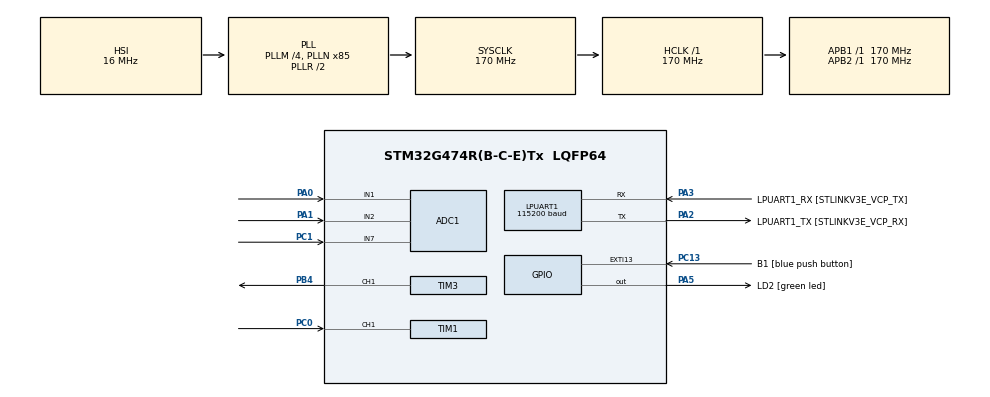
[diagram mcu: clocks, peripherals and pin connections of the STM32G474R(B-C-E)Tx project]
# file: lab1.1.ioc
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ADC1.Channel-0\#ChannelRegularConversion=ADC_CHANNEL_1
ADC1.Channel-1\#ChannelRegularConversion=ADC_CHANNEL_2
ADC1.Channel-2\#ChannelRegularConversion=ADC_CHANNEL_7
ADC1.ContinuousConvMode=ENABLE
ADC1.DMAContinuousRequests=ENABLE
ADC1.ExternalTrigConv=ADC_EXTERNALTRIG_T4_TRGO
ADC1.NbrOfConversion=3
ADC1.NbrOfConversionFlag=1
ADC1.OffsetNumber-0\#ChannelRegularConversion=ADC_OFFSET_NONE
ADC1.OffsetNumber-1\#ChannelRegularConversion=ADC_OFFSET_NONE
ADC1.OffsetNumber-2\#ChannelRegularConversion=ADC_OFFSET_NONE
ADC1.Rank-0\#ChannelRegularConversion=1
ADC1.Rank-1\#ChannelRegularConversion=2
ADC1.Rank-2\#ChannelRegularConversion=3
ADC1.SamplingTime-0\#ChannelRegularConversion=ADC_SAMPLETIME_640CYCLES_5
ADC1.SamplingTime-1\#ChannelRegularConversion=ADC_SAMPLETIME_640CYCLES_5
ADC1.SamplingTime-2\#ChannelRegularConversion=ADC_SAMPLETIME_640CYCLES_5
ADC1.master=1
Dma.ADC1.0.Direction=DMA_PERIPH_TO_MEMORY
Dma.ADC1.0.EventEnable=DISABLE
Dma.ADC1.0.Instance=DMA1_Channel1
Dma.ADC1.0.MemDataAlignment=DMA_MDATAALIGN_HALFWORD
Dma.ADC1.0.MemInc=DMA_MINC_ENABLE
Dma.ADC1.0.Mode=DMA_CIRCULAR
Dma.ADC1.0.PeriphDataAlignment=DMA_PDATAALIGN_HALFWORD
Dma.ADC1.0.PeriphInc=DMA_PINC_DISABLE
Dma.ADC1.0.Polarity=HAL_DMAMUX_REQ_GEN_RISING
Dma.ADC1.0.Priority=DMA_PRIORITY_LOW
Dma.ADC1.0.RequestNumber=1
Dma.ADC1.0.SignalID=NONE
Dma.ADC1.0.SyncEnable=DISABLE
Dma.ADC1.0.SyncPolarity=HAL_DMAMUX_SYNC_NO_EVENT
Dma.ADC1.0.SyncRequestNumber=1
Dma.ADC1.0.SyncSignalID=NONE
Dma.Request0=ADC1
LPUART1.BaudRate=115200
LPUART1.WordLength=UART_WORDLENGTH_8B
Mcu.Family=STM32G4
Mcu.Name=STM32G474R(B-C-E)Tx
Mcu.Package=LQFP64
NVIC.ADC1_2_IRQn=true\:0\:0\:false\:false\:true\:true\:true\:true
NVIC.DMA1_Channel1_IRQn=true\:0\:0\:false\:false\:true\:false\:true\:true
NVIC.EXTI15_10_IRQn=true\:0\:0\:false\:false\:true\:true\:true\:true
NVIC.PriorityGroup=NVIC_PRIORITYGROUP_4
NVIC.TIM2_IRQn=true\:0\:0\:false\:false\:true\:true\:true\:true
PA0.Mode=IN1-Single-Ended
PA0.Signal=ADC1_IN1
PA1.Mode=IN2-Single-Ended
PA1.Signal=ADC1_IN2
PA13.GPIO_Label=T_SWDIO
PA13.Mode=Serial_Wire
PA13.Signal=SYS_JTMS-SWDIO
PA14.GPIO_Label=T_SWCLK
PA14.Mode=Serial_Wire
PA14.Signal=SYS_JTCK-SWCLK
PA2.GPIO_Label=LPUART1_TX [STLINKV3E_VCP_RX]
PA2.Mode=Asynchronous
PA2.Signal=LPUART1_TX
PA3.GPIO_Label=LPUART1_RX [STLINKV3E_VCP_TX]
PA3.Mode=Asynchronous
PA3.Signal=LPUART1_RX
PA5.GPIO_Label=LD2 [green led]
PA5.Signal=GPIO_Output
PB3.GPIO_Label=T_SWO
PB3.Signal=SYS_JTDO-SWO
PB4.Signal=S_TIM3_CH1
PC0.Signal=S_TIM1_CH1
PC1.Mode=IN7-Single-Ended
PC1.Signal=ADC1_IN7
PC13.GPIO_Label=B1 [blue push button]
PC13.Signal=GPXTI13
PC14-OSC32_IN.Mode=LSE-External-Oscillator
PC14-OSC32_IN.Signal=RCC_OSC32_IN
PC15-OSC32_OUT.Mode=LSE-External-Oscillator
PC15-OSC32_OUT.Signal=RCC_OSC32_OUT
PF0-OSC_IN.Mode=HSE-External-Oscillator
PF0-OSC_IN.Signal=RCC_OSC_IN
PF1-OSC_OUT.Mode=HSE-External-Oscillator
PF1-OSC_OUT.Signal=RCC_OSC_OUT
ProjectManager.HeapSize=0x200
ProjectManager.StackSize=0x400
ProjectManager.TargetToolchain=STM32CubeIDE
RCC.ADC12Freq_Value=170000000
RCC.ADC345Freq_Value=170000000
RCC.AHBFreq_Value=170000000
RCC.APB1Freq_Value=170000000
RCC.APB1TimFreq_Value=170000000
RCC.APB2Freq_Value=170000000
RCC.APB2TimFreq_Value=170000000
RCC.CortexFreq_Value=170000000
RCC.EXTERNAL_CLOCK_VALUE=12288000
RCC.HCLKFreq_Value=170000000
RCC.HSE_VALUE=24000000
RCC.HSI48_VALUE=48000000
RCC.HSI_VALUE=16000000
RCC.PLLM=RCC_PLLM_DIV4
RCC.PLLN=85
RCC.RTCClockSelection=RCC_RTCCLKSOURCE_LSE
RCC.SYSCLKFreq_VALUE=170000000
RCC.SYSCLKSource=RCC_SYSCLKSOURCE_PLLCLK
RCC.USBFreq_Value=170000000
RCC.VCOOutputFreq_Value=340000000
SH.S_TIM1_CH1.0=TIM1_CH1,PWM_Input_1
SH.S_TIM3_CH1.0=TIM3_CH1,PWM Generation1 CH1
TIM1.PeriodNoDither=19999
TIM1.Prescaler=169
TIM2.PeriodNoDither=5000000
TIM2.Prescaler=169
TIM3.Channel-PWM\ Generation1\ CH1=TIM_CHANNEL_1
TIM3.PeriodNoDither=19999
TIM3.Prescaler=169
TIM3.PulseNoDither_1=2000
TIM4.PeriodNoDither=333
TIM4.Prescaler=169
TIM4.TIM_MasterOutputTrigger=TIM_TRGO_UPDATE
TIM4.TIM_MasterSlaveMode=TIM_MASTERSLAVEMODE_DISABLE
VP_SYS_VS_DBSignals.Mode=DisableDeadBatterySignals
VP_TIM2_VS_ClockSourceINT.Mode=Internal
VP_TIM3_VS_ClockSourceINT.Mode=Internal
VP_TIM4_VS_ClockSourceINT.Mode=Internal
board=NUCLEO-G474RE

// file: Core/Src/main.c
/* USER CODE BEGIN Header */
/**
  ******************************************************************************
  * @file           : main.c
  * @brief          : Main program body
  ******************************************************************************
  * @attention
  *
  * Copyright (c) 2024 STMicroelectronics.
  * All rights reserved.
  *
  * This software is licensed under terms that can be found in the LICENSE file
  * in the root directory of this software component.
  * If no LICENSE file comes with this software, it is provided AS-IS.
  *
  ******************************************************************************
  */
/* USER CODE END Header */
#include "main.h"

ADC_HandleTypeDef hadc1;
DMA_HandleTypeDef hdma_adc1;

UART_HandleTypeDef hlpuart1;

TIM_HandleTypeDef htim1;
TIM_HandleTypeDef htim2;
TIM_HandleTypeDef htim3;
TIM_HandleTypeDef htim4;

/* USER CODE BEGIN PV */
 uint64_t timestamp = 0;
 int count = -1;
 uint16_t ADC_RawRead[300]={0};
 uint16_t ServoTime,ServoPeriod;
 int pot1;
 int pot2;
 int pot3;
 int ans1;
 int ans2;
 int ans3;
 int sum1;
 int sum2;
 int A;
 int S1 = 0;
/* USER CODE END PV */

void SystemClock_Config(void);
static void MX_GPIO_Init(void);
static void MX_DMA_Init(void);
static void MX_LPUART1_UART_Init(void);
static void MX_TIM2_Init(void);
static void MX_ADC1_Init(void);
static void MX_TIM4_Init(void);
static void MX_TIM3_Init(void);
static void MX_TIM1_Init(void);
/* USER CODE BEGIN PFP */
void Avg();
void servo();
/* USER CODE END PFP */

int main(void)
{

  /* MCU Configuration--------------------------------------------------------*/

  /* Reset of all peripherals, Initializes the Flash interface and the Systick. */
  HAL_Init();

  /* Configure the system clock */
  SystemClock_Config();

  /* Initialize all configured peripherals */
  MX_GPIO_Init();
  MX_DMA_Init();
  MX_LPUART1_UART_Init();
  MX_TIM2_Init();
  MX_ADC1_Init();
  MX_TIM4_Init();
  MX_TIM3_Init();
  MX_TIM1_Init();
  /* USER CODE BEGIN 2 */
  HAL_TIM_Base_Start_IT(&htim2);
  HAL_TIM_Base_Start(&htim4);
  HAL_ADC_Start_DMA(&hadc1, ADC_RawRead, 300);
  HAL_TIM_Base_Start(&htim3);
  HAL_TIM_PWM_Start(&htim3, TIM_CHANNEL_1);
  HAL_TIM_Base_Start(&htim1);
  HAL_TIM_IC_Start(&htim1, TIM_CHANNEL_1);
  HAL_TIM_IC_Start(&htim1, TIM_CHANNEL_2);
  /* USER CODE END 2 */

  /* Infinite loop */
  while (1)
  {

    /* USER CODE BEGIN 3 */

	  timestamp =(pow(2,32)*count)+__HAL_TIM_GET_COUNTER(&htim2);

	  Avg();

	  swap();

  }
  /* USER CODE END 3 */
}

void SystemClock_Config(void)
{
  RCC_OscInitTypeDef RCC_OscInitStruct = {0};
  RCC_ClkInitTypeDef RCC_ClkInitStruct = {0};

  /** Configure the main internal regulator output voltage
  */
  HAL_PWREx_ControlVoltageScaling(PWR_REGULATOR_VOLTAGE_SCALE1_BOOST);

  /** Initializes the RCC Oscillators according to the specified parameters
  * in the RCC_OscInitTypeDef structure.
  */
  RCC_OscInitStruct.OscillatorType = RCC_OSCILLATORTYPE_HSI;
  RCC_OscInitStruct.HSIState = RCC_HSI_ON;
  RCC_OscInitStruct.HSICalibrationValue = RCC_HSICALIBRATION_DEFAULT;
  RCC_OscInitStruct.PLL.PLLState = RCC_PLL_ON;
  RCC_OscInitStruct.PLL.PLLSource = RCC_PLLSOURCE_HSI;
  RCC_OscInitStruct.PLL.PLLM = RCC_PLLM_DIV4;
  RCC_OscInitStruct.PLL.PLLN = 85;
  RCC_OscInitStruct.PLL.PLLP = RCC_PLLP_DIV2;
  RCC_OscInitStruct.PLL.PLLQ = RCC_PLLQ_DIV2;
  RCC_OscInitStruct.PLL.PLLR = RCC_PLLR_DIV2;
  if (HAL_RCC_OscConfig(&RCC_OscInitStruct) != HAL_OK)
  {
    Error_Handler();
  }

  /** Initializes the CPU, AHB and APB buses clocks
  */
  RCC_ClkInitStruct.ClockType = RCC_CLOCKTYPE_HCLK|RCC_CLOCKTYPE_SYSCLK
                              |RCC_CLOCKTYPE_PCLK1|RCC_CLOCKTYPE_PCLK2;
  RCC_ClkInitStruct.SYSCLKSource = RCC_SYSCLKSOURCE_PLLCLK;
  RCC_ClkInitStruct.AHBCLKDivider = RCC_SYSCLK_DIV1;
  RCC_ClkInitStruct.APB1CLKDivider = RCC_HCLK_DIV1;
  RCC_ClkInitStruct.APB2CLKDivider = RCC_HCLK_DIV1;

  if (HAL_RCC_ClockConfig(&RCC_ClkInitStruct, FLASH_LATENCY_4) != HAL_OK)
  {
    Error_Handler();
  }
}

static void MX_ADC1_Init(void)
{

  ADC_MultiModeTypeDef multimode = {0};
  ADC_ChannelConfTypeDef sConfig = {0};

  /** Common config
  */
  hadc1.Instance = ADC1;
  hadc1.Init.ClockPrescaler = ADC_CLOCK_SYNC_PCLK_DIV4;
  hadc1.Init.Resolution = ADC_RESOLUTION_12B;
  hadc1.Init.DataAlign = ADC_DATAALIGN_RIGHT;
  hadc1.Init.GainCompensation = 0;
  hadc1.Init.ScanConvMode = ADC_SCAN_ENABLE;
  hadc1.Init.EOCSelection = ADC_EOC_SINGLE_CONV;
  hadc1.Init.LowPowerAutoWait = DISABLE;
  hadc1.Init.ContinuousConvMode = ENABLE;
  hadc1.Init.NbrOfConversion = 3;
  hadc1.Init.DiscontinuousConvMode = DISABLE;
  hadc1.Init.ExternalTrigConv = ADC_EXTERNALTRIG_T4_TRGO;
  hadc1.Init.ExternalTrigConvEdge = ADC_EXTERNALTRIGCONVEDGE_RISING;
  hadc1.Init.DMAContinuousRequests = ENABLE;
  hadc1.Init.Overrun = ADC_OVR_DATA_PRESERVED;
  hadc1.Init.OversamplingMode = DISABLE;
  if (HAL_ADC_Init(&hadc1) != HAL_OK)
  {
    Error_Handler();
  }

  /** Configure the ADC multi-mode
  */
  multimode.Mode = ADC_MODE_INDEPENDENT;
  if (HAL_ADCEx_MultiModeConfigChannel(&hadc1, &multimode) != HAL_OK)
  {
    Error_Handler();
  }

  /** Configure Regular Channel
  */
  sConfig.Channel = ADC_CHANNEL_1;
  sConfig.Rank = ADC_REGULAR_RANK_1;
  sConfig.SamplingTime = ADC_SAMPLETIME_640CYCLES_5;
  sConfig.SingleDiff = ADC_SINGLE_ENDED;
  sConfig.OffsetNumber = ADC_OFFSET_NONE;
  sConfig.Offset = 0;
  if (HAL_ADC_ConfigChannel(&hadc1, &sConfig) != HAL_OK)
  {
    Error_Handler();
  }

  /** Configure Regular Channel
  */
  sConfig.Channel = ADC_CHANNEL_2;
  sConfig.Rank = ADC_REGULAR_RANK_2;
  if (HAL_ADC_ConfigChannel(&hadc1, &sConfig) != HAL_OK)
  {
    Error_Handler();
  }

  /** Configure Regular Channel
  */
  sConfig.Channel = ADC_CHANNEL_7;
  sConfig.Rank = ADC_REGULAR_RANK_3;
  if (HAL_ADC_ConfigChannel(&hadc1, &sConfig) != HAL_OK)
  {
    Error_Handler();
  }

}

static void MX_LPUART1_UART_Init(void)
{

  hlpuart1.Instance = LPUART1;
  hlpuart1.Init.BaudRate = 115200;
  hlpuart1.Init.WordLength = UART_WORDLENGTH_8B;
  hlpuart1.Init.StopBits = UART_STOPBITS_1;
  hlpuart1.Init.Parity = UART_PARITY_NONE;
  hlpuart1.Init.Mode = UART_MODE_TX_RX;
  hlpuart1.Init.HwFlowCtl = UART_HWCONTROL_NONE;
  hlpuart1.Init.OneBitSampling = UART_ONE_BIT_SAMPLE_DISABLE;
  hlpuart1.Init.ClockPrescaler = UART_PRESCALER_DIV1;
  hlpuart1.AdvancedInit.AdvFeatureInit = UART_ADVFEATURE_NO_INIT;
  if (HAL_UART_Init(&hlpuart1) != HAL_OK)
  {
    Error_Handler();
  }
  if (HAL_UARTEx_SetTxFifoThreshold(&hlpuart1, UART_TXFIFO_THRESHOLD_1_8) != HAL_OK)
  {
    Error_Handler();
  }
  if (HAL_UARTEx_SetRxFifoThreshold(&hlpuart1, UART_RXFIFO_THRESHOLD_1_8) != HAL_OK)
  {
    Error_Handler();
  }
  if (HAL_UARTEx_DisableFifoMode(&hlpuart1) != HAL_OK)
  {
    Error_Handler();
  }

}

static void MX_TIM1_Init(void)
{

  TIM_SlaveConfigTypeDef sSlaveConfig = {0};
  TIM_IC_InitTypeDef sConfigIC = {0};
  TIM_MasterConfigTypeDef sMasterConfig = {0};

  htim1.Instance = TIM1;
  htim1.Init.Prescaler = 169;
  htim1.Init.CounterMode = TIM_COUNTERMODE_UP;
  htim1.Init.Period = 19999;
  htim1.Init.ClockDivision = TIM_CLOCKDIVISION_DIV1;
  htim1.Init.RepetitionCounter = 0;
  htim1.Init.AutoReloadPreload = TIM_AUTORELOAD_PRELOAD_DISABLE;
  if (HAL_TIM_IC_Init(&htim1) != HAL_OK)
  {
    Error_Handler();
  }
  sSlaveConfig.SlaveMode = TIM_SLAVEMODE_RESET;
  sSlaveConfig.InputTrigger = TIM_TS_TI1FP1;
  sSlaveConfig.TriggerPolarity = TIM_INPUTCHANNELPOLARITY_RISING;
  sSlaveConfig.TriggerPrescaler = TIM_ICPSC_DIV1;
  sSlaveConfig.TriggerFilter = 0;
  if (HAL_TIM_SlaveConfigSynchro(&htim1, &sSlaveConfig) != HAL_OK)
  {
    Error_Handler();
  }
  sConfigIC.ICPolarity = TIM_INPUTCHANNELPOLARITY_RISING;
  sConfigIC.ICSelection = TIM_ICSELECTION_DIRECTTI;
  sConfigIC.ICPrescaler = TIM_ICPSC_DIV1;
  sConfigIC.ICFilter = 0;
  if (HAL_TIM_IC_ConfigChannel(&htim1, &sConfigIC, TIM_CHANNEL_1) != HAL_OK)
  {
    Error_Handler();
  }
  sConfigIC.ICPolarity = TIM_INPUTCHANNELPOLARITY_FALLING;
  sConfigIC.ICSelection = TIM_ICSELECTION_INDIRECTTI;
  if (HAL_TIM_IC_ConfigChannel(&htim1, &sConfigIC, TIM_CHANNEL_2) != HAL_OK)
  {
    Error_Handler();
  }
  sMasterConfig.MasterOutputTrigger = TIM_TRGO_RESET;
  sMasterConfig.MasterOutputTrigger2 = TIM_TRGO2_RESET;
  sMasterConfig.MasterSlaveMode = TIM_MASTERSLAVEMODE_DISABLE;
  if (HAL_TIMEx_MasterConfigSynchronization(&htim1, &sMasterConfig) != HAL_OK)
  {
    Error_Handler();
  }

}

static void MX_TIM2_Init(void)
{

  TIM_ClockConfigTypeDef sClockSourceConfig = {0};
  TIM_MasterConfigTypeDef sMasterConfig = {0};

  htim2.Instance = TIM2;
  htim2.Init.Prescaler = 169;
  htim2.Init.CounterMode = TIM_COUNTERMODE_UP;
  htim2.Init.Period = 5000000;
  htim2.Init.ClockDivision = TIM_CLOCKDIVISION_DIV1;
  htim2.Init.AutoReloadPreload = TIM_AUTORELOAD_PRELOAD_DISABLE;
  if (HAL_TIM_Base_Init(&htim2) != HAL_OK)
  {
    Error_Handler();
  }
  sClockSourceConfig.ClockSource = TIM_CLOCKSOURCE_INTERNAL;
  if (HAL_TIM_ConfigClockSource(&htim2, &sClockSourceConfig) != HAL_OK)
  {
    Error_Handler();
  }
  sMasterConfig.MasterOutputTrigger = TIM_TRGO_RESET;
  sMasterConfig.MasterSlaveMode = TIM_MASTERSLAVEMODE_DISABLE;
  if (HAL_TIMEx_MasterConfigSynchronization(&htim2, &sMasterConfig) != HAL_OK)
  {
    Error_Handler();
  }

}

static void MX_TIM3_Init(void)
{

  TIM_ClockConfigTypeDef sClockSourceConfig = {0};
  TIM_MasterConfigTypeDef sMasterConfig = {0};
  TIM_OC_InitTypeDef sConfigOC = {0};

  htim3.Instance = TIM3;
  htim3.Init.Prescaler = 169;
  htim3.Init.CounterMode = TIM_COUNTERMODE_UP;
  htim3.Init.Period = 19999;
  htim3.Init.ClockDivision = TIM_CLOCKDIVISION_DIV1;
  htim3.Init.AutoReloadPreload = TIM_AUTORELOAD_PRELOAD_DISABLE;
  if (HAL_TIM_Base_Init(&htim3) != HAL_OK)
  {
    Error_Handler();
  }
  sClockSourceConfig.ClockSource = TIM_CLOCKSOURCE_INTERNAL;
  if (HAL_TIM_ConfigClockSource(&htim3, &sClockSourceConfig) != HAL_OK)
  {
    Error_Handler();
  }
  if (HAL_TIM_PWM_Init(&htim3) != HAL_OK)
  {
    Error_Handler();
  }
  sMasterConfig.MasterOutputTrigger = TIM_TRGO_RESET;
  sMasterConfig.MasterSlaveMode = TIM_MASTERSLAVEMODE_DISABLE;
  if (HAL_TIMEx_MasterConfigSynchronization(&htim3, &sMasterConfig) != HAL_OK)
  {
    Error_Handler();
  }
  sConfigOC.OCMode = TIM_OCMODE_PWM1;
  sConfigOC.Pulse = 2000;
  sConfigOC.OCPolarity = TIM_OCPOLARITY_HIGH;
  sConfigOC.OCFastMode = TIM_OCFAST_DISABLE;
  if (HAL_TIM_PWM_ConfigChannel(&htim3, &sConfigOC, TIM_CHANNEL_1) != HAL_OK)
  {
    Error_Handler();
  }
  HAL_TIM_MspPostInit(&htim3);

}

static void MX_TIM4_Init(void)
{

  TIM_ClockConfigTypeDef sClockSourceConfig = {0};
  TIM_MasterConfigTypeDef sMasterConfig = {0};

  htim4.Instance = TIM4;
  htim4.Init.Prescaler = 169;
  htim4.Init.CounterMode = TIM_COUNTERMODE_UP;
  htim4.Init.Period = 333;
  htim4.Init.ClockDivision = TIM_CLOCKDIVISION_DIV1;
  htim4.Init.AutoReloadPreload = TIM_AUTORELOAD_PRELOAD_DISABLE;
  if (HAL_TIM_Base_Init(&htim4) != HAL_OK)
  {
    Error_Handler();
  }
  sClockSourceConfig.ClockSource = TIM_CLOCKSOURCE_INTERNAL;
  if (HAL_TIM_ConfigClockSource(&htim4, &sClockSourceConfig) != HAL_OK)
  {
    Error_Handler();
  }
  sMasterConfig.MasterOutputTrigger = TIM_TRGO_UPDATE;
  sMasterConfig.MasterSlaveMode = TIM_MASTERSLAVEMODE_DISABLE;
  if (HAL_TIMEx_MasterConfigSynchronization(&htim4, &sMasterConfig) != HAL_OK)
  {
    Error_Handler();
  }

}

static void MX_DMA_Init(void)
{

  /* DMA controller clock enable */
  __HAL_RCC_DMAMUX1_CLK_ENABLE();
  __HAL_RCC_DMA1_CLK_ENABLE();

  /* DMA interrupt init */
  /* DMA1_Channel1_IRQn interrupt configuration */
  HAL_NVIC_SetPriority(DMA1_Channel1_IRQn, 0, 0);
  HAL_NVIC_EnableIRQ(DMA1_Channel1_IRQn);

}

static void MX_GPIO_Init(void)
{
  GPIO_InitTypeDef GPIO_InitStruct = {0};

  /* GPIO Ports Clock Enable */
  __HAL_RCC_GPIOC_CLK_ENABLE();
  __HAL_RCC_GPIOF_CLK_ENABLE();
  __HAL_RCC_GPIOA_CLK_ENABLE();
  __HAL_RCC_GPIOB_CLK_ENABLE();

  /*Configure GPIO pin Output Level */
  HAL_GPIO_WritePin(LD2_GPIO_Port, LD2_Pin, GPIO_PIN_RESET);

  /*Configure GPIO pin : B1_Pin */
  GPIO_InitStruct.Pin = B1_Pin;
  GPIO_InitStruct.Mode = GPIO_MODE_IT_RISING;
  GPIO_InitStruct.Pull = GPIO_NOPULL;
  HAL_GPIO_Init(B1_GPIO_Port, &GPIO_InitStruct);

  /*Configure GPIO pin : LD2_Pin */
  GPIO_InitStruct.Pin = LD2_Pin;
  GPIO_InitStruct.Mode = GPIO_MODE_OUTPUT_PP;
  GPIO_InitStruct.Pull = GPIO_NOPULL;
  GPIO_InitStruct.Speed = GPIO_SPEED_FREQ_LOW;
  HAL_GPIO_Init(LD2_GPIO_Port, &GPIO_InitStruct);

  /* EXTI interrupt init*/
  HAL_NVIC_SetPriority(EXTI15_10_IRQn, 0, 0);
  HAL_NVIC_EnableIRQ(EXTI15_10_IRQn);

}

/* USER CODE BEGIN 4 */
void HAL_TIM_PeriodElapsedCallback(TIM_HandleTypeDef *htim)
{
	if(htim == &htim2)
	{
		count += 1 ;
	}
}
void Avg()
{
	pot1 =0;
	pot2 =0;
	pot3 =0;
	for (int i=0; i<300; i +=3)
	{
		pot1 += ADC_RawRead[i];
		pot2 += ADC_RawRead[i+1];
		pot3 += ADC_RawRead[i+2];
	}
	ans1 = pot1/100;
	ans2 = pot2/100;
	ans3 = pot3/100;
}
void servo()
{
sum1 = 0;
sum2 = 0;
	if (ans1 >= 0 && ans1 <= (4096*25)/100 )
	{
		__HAL_TIM_SET_COMPARE(&htim3, TIM_CHANNEL_1, 500);
	}

	else if (ans1 > 1024 && ans1 <= (4096*50)/100)
	{
		sum1 = (ans2 *(2500 - 500))/4096 + 500;
		__HAL_TIM_SET_COMPARE(&htim3, TIM_CHANNEL_1, sum1);
	}

	else if (ans1 > 2048 && ans1 <= (4096*75)/100)
	{
		sum2 = (ans3 *2000)/4096 + 500;
		__HAL_TIM_SET_COMPARE(&htim3, TIM_CHANNEL_1, sum2);
	}
	else
	{
		__HAL_TIM_SET_COMPARE(&htim3, TIM_CHANNEL_1, 2500);
	}
}
void ex()
{
	ServoTime = __HAL_TIM_GET_COMPARE(&htim1,TIM_CHANNEL_2);
	ServoPeriod=__HAL_TIM_GET_COMPARE(&htim1,TIM_CHANNEL_1);
	A = ((ServoTime - 864)*2000)/(1238) + 500 ;
	__HAL_TIM_SET_COMPARE(&htim3, TIM_CHANNEL_1,A);
}
void swap()
{
	if (HAL_GPIO_ReadPin(GPIOC, GPIO_PIN_13) == GPIO_PIN_SET && S1 == 0)
		{
		HAL_GPIO_WritePin(GPIOA, GPIO_PIN_5, GPIO_PIN_SET);
		S1 = 1;
		}
	else if (HAL_GPIO_ReadPin(GPIOC, GPIO_PIN_13) == GPIO_PIN_SET && S1 == 1)
		{
			HAL_GPIO_WritePin(GPIOA, GPIO_PIN_5, GPIO_PIN_RESET);
			S1 = 0;
		}
	 if (S1 == 0)
	 {
	  servo();
	 } else if (S1 == 1) {
	  ex();
	 }
}

/* USER CODE END 4 */

void Error_Handler(void)
{
  __disable_irq();
  while (1)
  {
  }
}
